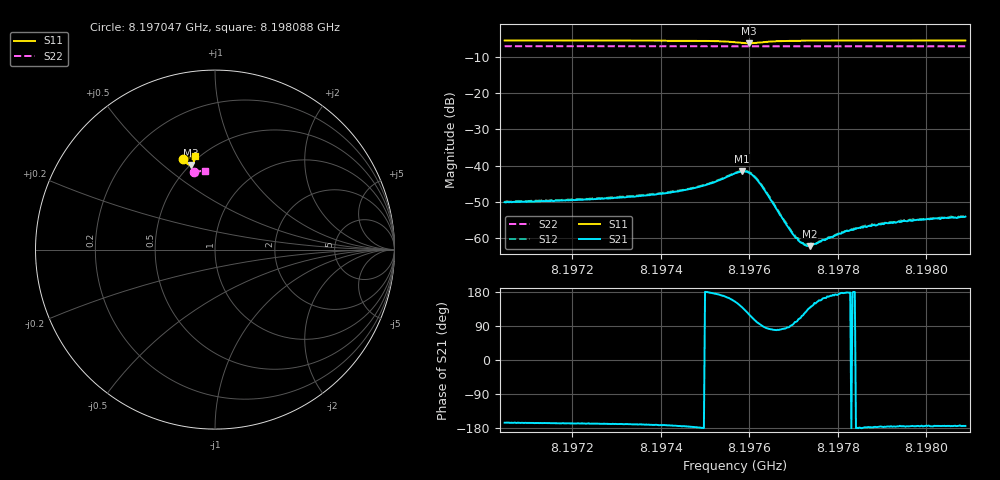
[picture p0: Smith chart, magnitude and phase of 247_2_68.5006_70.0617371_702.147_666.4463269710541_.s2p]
#  HZ  S  RI  R  50.00
! Rohde & Schwarz Vector Network Analyzer
! Rohde-Schwarz,ZNB20-2Port,1311601062101988,3.16
! Created: UTC 3/20/2024, 5:14:48 PM
! freq[Hz]  re:S11  im:S11  re:S21  im:S21  re:S12  im:S12  re:S22  im:S22
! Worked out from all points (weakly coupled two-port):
!   401 points, 8.197047 GHz to 8.198088 GHz, reference 50 ohm
!   highest |S21| = -41.61 dB at 8.197583 GHz (marker M1); lowest = -62.3 dB at 8.197736 GHz (marker M2)
!   lowest |S11| = -6.2 dB at 8.197598 GHz (marker M3), VSWR 2.92, Z = 25.3 + j31.3 ohm
!   |S11| at or under -10 dB: nowhere
!   |S22| runs from -7.1 to -7.0 dB; largest |S21 - S12| = 0.00038
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8.1970466e9  -0.1778 0.5055  -0.00302 -0.000782  -0.0031 -0.000676  -0.1158 0.4309
8.197221e9  -0.1644 0.5095  -0.00328 -0.00075  -0.00338 -0.000602  -0.106 0.433
8.1973173e9  -0.1562 0.5115  -0.00357 -0.000684  -0.00365 -0.000529  -0.1006 0.4341
8.1973954e9  -0.1484 0.5127  -0.00404 -0.000565  -0.00412 -0.000423  -0.0963 0.4349
8.1974397e9  -0.143 0.5129  -0.00439 -0.00044  -0.0045 -0.000316  -0.0939 0.4354
8.1974866e9  -0.1357 0.5122  -0.0051 -0.000137  -0.00516 6.03e-05  -0.0911 0.4358
8.1975204e9  -0.1283 0.5095  -0.00586 0.000461  -0.00599 0.000715  -0.0892 0.436
8.1975673e9  -0.1175 0.4926  -0.00705 0.00341  -0.00703 0.00374  -0.0864 0.4359
8.1975829e9  -0.1205 0.4807  -0.00632 0.00539  -0.00624 0.00572  -0.0856 0.4357
8.1975985e9  -0.1324 0.4714  -0.00411 0.00686  -0.00398 0.00715  -0.0852 0.4357
8.1976115e9  -0.1453 0.4722  -0.00185 0.00669  -0.00166 0.00692  -0.0849 0.436
8.1976245e9  -0.1543 0.4791  -0.000302 0.00556  -7.79e-05 0.00571  -0.0843 0.4363
8.1977e9  -0.1512 0.5079  -0.000114 0.00109  -7.2e-05 0.00113  -0.08 0.4376
8.1977182e9  -0.1485 0.5101  -0.000378 0.000766  -0.000326 0.000793  -0.0789 0.4378
8.1977261e9  -0.1474 0.511  -0.000461 0.000648  -0.000431 0.000681  -0.0785 0.4379
8.1977365e9  -0.146 0.512  -0.000572 0.000516  -0.000578 0.000552  -0.0778 0.438
8.1977417e9  -0.1453 0.5124  -0.00065 0.000492  -0.000614 0.000483  -0.0776 0.438
8.1978198e9  -0.1365 0.5166  -0.00126 4.45e-05  -0.00126 8.77e-05  -0.0731 0.4387
8.1978588e9  -0.1327 0.5177  -0.00143 -4.76e-05  -0.00146 -2.73e-06  -0.0709 0.439
8.1979161e9  -0.1277 0.5194  -0.0016 -0.000113  -0.00165 -5.67e-05  -0.0677 0.4395
8.1979656e9  -0.1236 0.5205  -0.00171 -0.000165  -0.00176 -8.18e-05  -0.0649 0.4398
8.1980879e9  -0.114 0.5228  -0.00196 -0.000208  -0.00199 -0.000138  -0.058 0.4405
